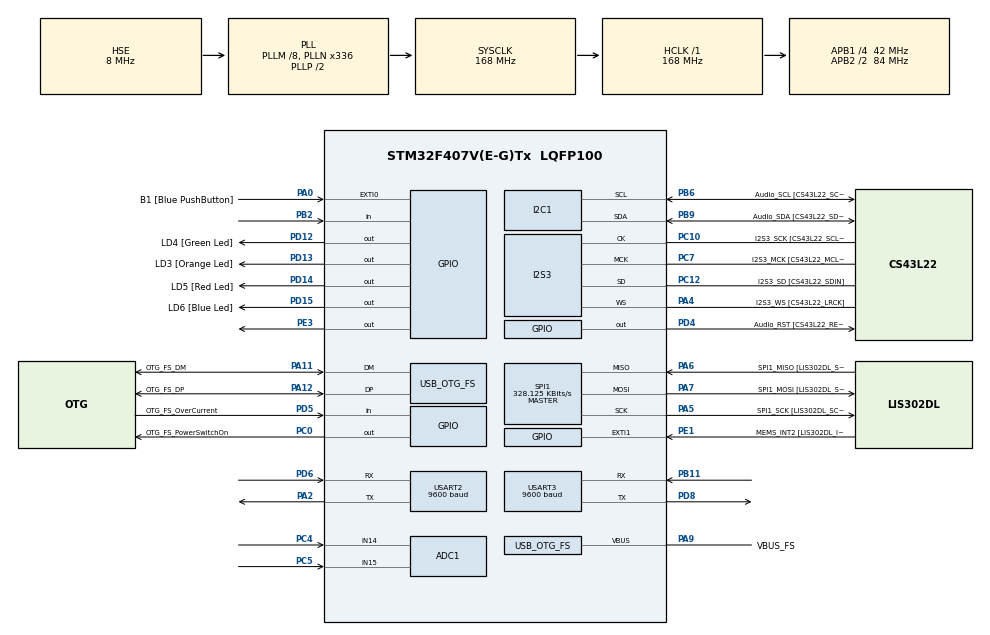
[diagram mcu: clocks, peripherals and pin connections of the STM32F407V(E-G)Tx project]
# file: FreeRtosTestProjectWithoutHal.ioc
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ADC1.Channel-7\#ChannelRegularConversion=ADC_CHANNEL_14
ADC1.NbrOfConversion=1
ADC1.NbrOfConversionFlag=1
ADC1.Rank-7\#ChannelRegularConversion=1
ADC1.SamplingTime-7\#ChannelRegularConversion=ADC_SAMPLETIME_3CYCLES
ADC1.ScanConvMode=DISABLE
ADC1.master=1
FREERTOS.Tasks01=defaultTask,24,128,StartDefaultTask,Default,NULL,Dynamic,NULL,NULL
I2S3.AudioFreq-Half_Duplex_Master=I2S_AUDIOFREQ_96K
I2S3.ErrorAudioFreq=-2.34 %
I2S3.ErrorAudioFreq-Half_Duplex_Master=0.8 %
I2S3.FullDuplexMode=I2S_FULLDUPLEXMODE_DISABLE
I2S3.Instance=SPI$Index
I2S3.RealAudioFreq=93.75 KHz
I2S3.RealAudioFreq-Half_Duplex_Master=96.774 KHz
I2S3.VirtualMode=I2S_MODE_MASTER
Mcu.Family=STM32F4
Mcu.Name=STM32F407V(E-G)Tx
Mcu.Package=LQFP100
NVIC.OTG_FS_IRQn=true\:5\:0\:false\:false\:true\:true\:true\:true
NVIC.PriorityGroup=NVIC_PRIORITYGROUP_4
NVIC.TIM1_UP_TIM10_IRQn=true\:0\:0\:false\:false\:true\:false\:false\:true
NVIC.TimeBase=TIM1_UP_TIM10_IRQn
NVIC.TimeBaseIP=TIM1
PA0-WKUP.GPIO_Label=B1 [Blue PushButton]
PA0-WKUP.GPIO_ModeDefaultEXTI=GPIO_MODE_EVT_RISING
PA0-WKUP.GPIO_PuPd=GPIO_NOPULL
PA0-WKUP.Signal=GPXTI0
PA10.GPIO_Label=OTG_FS_ID
PA10.GPIO_Mode=GPIO_MODE_AF_PP
PA10.GPIO_PuPd=GPIO_NOPULL
PA10.GPIO_Speed=GPIO_SPEED_FREQ_LOW
PA10.Signal=USB_OTG_FS_ID
PA11.GPIO_Label=OTG_FS_DM
PA11.GPIO_Mode=GPIO_MODE_AF_PP
PA11.GPIO_PuPd=GPIO_NOPULL
PA11.GPIO_Speed=GPIO_SPEED_FREQ_LOW
PA11.Mode=Host_Only
PA11.Signal=USB_OTG_FS_DM
PA12.GPIO_Label=OTG_FS_DP
PA12.GPIO_Mode=GPIO_MODE_AF_PP
PA12.GPIO_PuPd=GPIO_NOPULL
PA12.GPIO_Speed=GPIO_SPEED_FREQ_LOW
PA12.Mode=Host_Only
PA12.Signal=USB_OTG_FS_DP
PA13.GPIO_Label=SWDIO
PA13.Mode=Serial_Wire
PA13.Signal=SYS_JTMS-SWDIO
PA14.GPIO_Label=SWCLK
PA14.Mode=Serial_Wire
PA14.Signal=SYS_JTCK-SWCLK
PA2.Mode=Asynchronous
PA2.Signal=USART2_TX
PA4.GPIO_Label=I2S3_WS [CS43L22_LRCK]
PA4.GPIO_Mode=GPIO_MODE_AF_PP
PA4.GPIO_PuPd=GPIO_NOPULL
PA4.GPIO_Speed=GPIO_SPEED_FREQ_LOW
PA4.Mode=Half_Duplex_Master
PA4.Signal=I2S3_WS
PA5.GPIO_Label=SPI1_SCK [LIS302DL_SCL/SPC]
PA5.GPIO_Mode=GPIO_MODE_AF_PP
PA5.GPIO_PuPd=GPIO_NOPULL
PA5.GPIO_Speed=GPIO_SPEED_FREQ_LOW
PA5.Mode=Full_Duplex_Master
PA5.Signal=SPI1_SCK
PA6.GPIO_Label=SPI1_MISO [LIS302DL_SDO]
PA6.GPIO_Mode=GPIO_MODE_AF_PP
PA6.GPIO_PuPd=GPIO_NOPULL
PA6.GPIO_Speed=GPIO_SPEED_FREQ_LOW
PA6.Mode=Full_Duplex_Master
PA6.Signal=SPI1_MISO
PA7.GPIO_Label=SPI1_MOSI [LIS302DL_SDA/SDI/SDO]
PA7.GPIO_Mode=GPIO_MODE_AF_PP
PA7.GPIO_PuPd=GPIO_NOPULL
PA7.GPIO_Speed=GPIO_SPEED_FREQ_LOW
PA7.Mode=Full_Duplex_Master
PA7.Signal=SPI1_MOSI
PA9.GPIO_Label=VBUS_FS
PA9.GPIO_Mode=GPIO_MODE_INPUT
PA9.GPIO_PuPd=GPIO_NOPULL
PA9.Mode=Activate_VBUS
PA9.Signal=USB_OTG_FS_VBUS
PB10.GPIO_Label=CLK_IN [MP45DT02_CLK]
PB10.GPIO_Mode=GPIO_MODE_AF_PP
PB10.GPIO_PuPd=GPIO_NOPULL
PB10.GPIO_Speed=GPIO_SPEED_FREQ_LOW
PB10.Signal=I2S2_CK
PB11.Mode=Asynchronous
PB11.Signal=USART3_RX
PB2.Signal=GPIO_Input
PB3.GPIO_Label=SWO
PB3.Signal=SYS_JTDO-SWO
PB6.GPIO_Label=Audio_SCL [CS43L22_SCL]
PB6.GPIO_Mode=GPIO_MODE_AF_OD
PB6.GPIO_PuPd=GPIO_NOPULL
PB6.GPIO_Speed=GPIO_SPEED_FREQ_LOW
PB6.Mode=I2C
PB6.Signal=I2C1_SCL
PB9.GPIO_Label=Audio_SDA [CS43L22_SDA]
PB9.GPIO_Mode=GPIO_MODE_AF_OD
PB9.GPIO_PuPd=GPIO_NOPULL
PB9.GPIO_Speed=GPIO_SPEED_FREQ_LOW
PB9.Mode=I2C
PB9.Signal=I2C1_SDA
PC0.GPIO_Label=OTG_FS_PowerSwitchOn
PC0.GPIO_PuPd=GPIO_NOPULL
PC0.GPIO_Speed=GPIO_SPEED_FREQ_LOW
PC0.PinState=GPIO_PIN_SET
PC0.Signal=GPIO_Output
PC10.GPIO_Label=I2S3_SCK [CS43L22_SCLK]
PC10.GPIO_Mode=GPIO_MODE_AF_PP
PC10.GPIO_PuPd=GPIO_NOPULL
PC10.GPIO_Speed=GPIO_SPEED_FREQ_LOW
PC10.Mode=Half_Duplex_Master
PC10.Signal=I2S3_CK
PC12.GPIO_Label=I2S3_SD [CS43L22_SDIN]
PC12.GPIO_Mode=GPIO_MODE_AF_PP
PC12.GPIO_PuPd=GPIO_NOPULL
PC12.GPIO_Speed=GPIO_SPEED_FREQ_LOW
PC12.Mode=Half_Duplex_Master
PC12.Signal=I2S3_SD
PC14-OSC32_IN.GPIO_Label=PC14-OSC32_IN
PC14-OSC32_IN.Mode=LSE-External-Oscillator
PC14-OSC32_IN.Signal=RCC_OSC32_IN
PC15-OSC32_OUT.GPIO_Label=PC15-OSC32_OUT
PC15-OSC32_OUT.Mode=LSE-External-Oscillator
PC15-OSC32_OUT.Signal=RCC_OSC32_OUT
PC3.GPIO_Label=PDM_OUT [MP45DT02_DOUT]
PC3.GPIO_Mode=GPIO_MODE_AF_PP
PC3.GPIO_PuPd=GPIO_NOPULL
PC3.GPIO_Speed=GPIO_SPEED_FREQ_LOW
PC3.Signal=I2S2_SD
PC4.Signal=ADCx_IN14
PC5.Signal=ADCx_IN15
PC7.GPIO_Label=I2S3_MCK [CS43L22_MCLK]
PC7.GPIO_Mode=GPIO_MODE_AF_PP
PC7.GPIO_PuPd=GPIO_NOPULL
PC7.GPIO_Speed=GPIO_SPEED_FREQ_LOW
PC7.Mode=Master_Clock_Activated
PC7.Signal=I2S3_MCK
PD12.GPIO_Label=LD4 [Green Led]
PD12.GPIO_PuPd=GPIO_NOPULL
PD12.GPIO_Speed=GPIO_SPEED_FREQ_LOW
PD12.Signal=GPIO_Output
PD13.GPIO_Label=LD3 [Orange Led]
PD13.GPIO_PuPd=GPIO_NOPULL
PD13.GPIO_Speed=GPIO_SPEED_FREQ_LOW
PD13.Signal=GPIO_Output
PD14.GPIO_Label=LD5 [Red Led]
PD14.GPIO_PuPd=GPIO_NOPULL
PD14.GPIO_Speed=GPIO_SPEED_FREQ_LOW
PD14.Signal=GPIO_Output
PD15.GPIO_Label=LD6 [Blue Led]
PD15.GPIO_PuPd=GPIO_NOPULL
PD15.GPIO_Speed=GPIO_SPEED_FREQ_LOW
PD15.Signal=GPIO_Output
PD4.GPIO_Label=Audio_RST [CS43L22_RESET]
PD4.GPIO_PuPd=GPIO_NOPULL
PD4.GPIO_Speed=GPIO_SPEED_FREQ_LOW
PD4.Signal=GPIO_Output
PD5.GPIO_Label=OTG_FS_OverCurrent
PD5.GPIO_Mode=GPIO_MODE_INPUT
PD5.GPIO_PuPd=GPIO_NOPULL
PD5.Signal=GPIO_Input
PD6.Mode=Asynchronous
PD6.Signal=USART2_RX
PD8.Mode=Asynchronous
PD8.Signal=USART3_TX
PE1.GPIO_Label=MEMS_INT2 [LIS302DL_INT2]
PE1.GPIO_ModeDefaultEXTI=GPIO_MODE_EVT_RISING
PE1.GPIO_PuPd=GPIO_NOPULL
PE1.Signal=GPXTI1
PE3.Signal=GPIO_Output
PH0-OSC_IN.GPIO_Label=PH0-OSC_IN
PH0-OSC_IN.Mode=HSE-External-Oscillator
PH0-OSC_IN.Signal=RCC_OSC_IN
PH1-OSC_OUT.GPIO_Label=PH1-OSC_OUT
PH1-OSC_OUT.Mode=HSE-External-Oscillator
PH1-OSC_OUT.Signal=RCC_OSC_OUT
ProjectManager.HeapSize=0x200
ProjectManager.StackSize=0x400
ProjectManager.TargetToolchain=STM32CubeIDE
RCC.48MHZClocksFreq_Value=48000000
RCC.AHBFreq_Value=168000000
RCC.APB1CLKDivider=RCC_HCLK_DIV4
RCC.APB1Freq_Value=42000000
RCC.APB1TimFreq_Value=84000000
RCC.APB2CLKDivider=RCC_HCLK_DIV2
RCC.APB2Freq_Value=84000000
RCC.APB2TimFreq_Value=168000000
RCC.CortexFreq_Value=168000000
RCC.HCLKFreq_Value=168000000
RCC.HSE_VALUE=8000000
RCC.HSI_VALUE=16000000
RCC.PLLM=8
RCC.PLLN=336
RCC.PLLQ=7
RCC.SYSCLKFreq_VALUE=168000000
RCC.SYSCLKSource=RCC_SYSCLKSOURCE_PLLCLK
RCC.VCOOutputFreq_Value=336000000
SH.ADCx_IN14.0=ADC1_IN14,IN14
SH.ADCx_IN15.0=ADC1_IN15,IN15
SPI1.BaudRatePrescaler=SPI_BAUDRATEPRESCALER_256
SPI1.BaudRatePrescaler-Full_Duplex_Master=SPI_BAUDRATEPRESCALER_2
SPI1.CalculateBaudRate=328.125 KBits/s
SPI1.CalculateBaudRate-Full_Duplex_Master=42.0 MBits/s
SPI1.Direction=SPI_DIRECTION_2LINES
SPI1.Mode=SPI_MODE_MASTER
SPI1.Mode-Full_Duplex_Master=SPI_MODE_MASTER
SPI1.VirtualType=VM_MASTER
USART2.BaudRate=9600
USART2.VirtualMode=VM_ASYNC
USART3.BaudRate=9600
USART3.VirtualMode=VM_ASYNC
USB_HOST.BSP.number=1
USB_HOST.USBH_HandleTypeDef-CDC_FS=hUsbHostFS
USB_HOST.USBH_USE_OS-CDC_FS=0
USB_HOST.VirtualModeFS=Cdc
USB_HOST0.BSP.STBoard=false
USB_HOST0.BSP.api=Unknown
USB_HOST0.BSP.i2caddr=0
USB_HOST0.BSP.i2creg=0
USB_HOST0.BSP.instance=PC0
USB_HOST0.BSP.ip=GPIO
USB_HOST0.BSP.mode=Output
USB_HOST0.BSP.name=Drive_VBUS_FS
USB_HOST0.BSP.solution=PC0
USB_OTG_FS.VirtualMode=Host_Only
USB_OTG_FS.phy_itface=HCD_PHY_EMBEDDED
VP_FREERTOS_VS_CMSIS_V2.Mode=CMSIS_V2
VP_SYS_VS_tim1.Mode=TIM1
VP_USB_HOST_VS_USB_HOST_CDC_FS.Mode=CDC_FS
board=STM32F407G-DISC1

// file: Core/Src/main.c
/* USER CODE BEGIN Header */
/**
  ******************************************************************************
  * @file           : main.c
  * @brief          : Main program body
  ******************************************************************************
  * @attention
  *
  * <h2><center>&copy; Copyright (c) 2021 STMicroelectronics.
  * All rights reserved.</center></h2>
  *
  * This software component is licensed by ST under Ultimate Liberty license
  * SLA0044, the "License"; You may not use this file except in compliance with
  * the License. You may obtain a copy of the License at:
  *                             www.st.com/SLA0044
  *
  ******************************************************************************
  */
/* USER CODE END Header */
#include "main.h"
#include "cmsis_os.h"
#include "usb_host.h"

/* USER CODE BEGIN Includes */

#include "FreeRTOS.h"
#include "task.h"
#include "croutine.h"

#include "ADCman.h"

/* USER CODE END Includes */

ADC_HandleTypeDef hadc1;

I2C_HandleTypeDef hi2c1;

I2S_HandleTypeDef hi2s3;

SPI_HandleTypeDef hspi1;

UART_HandleTypeDef huart2;
UART_HandleTypeDef huart3;

/* Definitions for defaultTask */
osThreadId_t defaultTaskHandle;
const osThreadAttr_t defaultTask_attributes = {
  .name = "defaultTask",
  .priority = (osPriority_t) osPriorityNormal,
  .stack_size = 128 * 4
};

void SystemClock_Config(void);
static void MX_GPIO_Init(void);
static void MX_I2C1_Init(void);
static void MX_I2S3_Init(void);
static void MX_SPI1_Init(void);
static void MX_USART2_UART_Init(void);
static void MX_USART3_UART_Init(void);
static void MX_ADC1_Init(void);
void StartDefaultTask(void *argument);

/* USER CODE BEGIN 0 */

/*-----------------------------------------------------------*/
/* Обмен по ModBus */
void vTaskForModbus( void *pvParameters )
{

  for( ;; )
 {

 }

  vTaskDelete( NULL );
}
/*-----------------------------------------------------------*/
/* Обмен по SPI */
void vTaskForSPI( void *pvParameters )
{

  uint8_t sendData[100];
  uint8_t receiveData[100];
  uint16_t dataSize;

  for( ;; )
 {
	  //Передать адрес канала, с которого произойдёт конвертация
	  	HAL_SPI_TransmitReceive(&hspi1, &sendData, &receiveData, dataSize, 1000);

	  	//Получить значение канала при следующей отправке.
	  	HAL_SPI_TransmitReceive(&hspi1, &sendData, &receiveData, dataSize, 1000);
 }
  vTaskDelete( NULL );
}

/* Обмен по UART */
void vTaskForUART( void *pvParameters )
{

  for( ;; )
 {

 }
  vTaskDelete( NULL );
}

/* Работа с драйвером дисплея */
void vTaskForDisplay( void *pvParameters )
{

  int displayNumbers[4];

  for( ;; )
 {

 }
  vTaskDelete( NULL );
}

/* Работа с портами */
void vTaskForPorts( void *pvParameters )
{
	int portNumbers[4];

  for( ;; )
 {

 }
  vTaskDelete( NULL );
}

/* Работа с драйвером дисплея */
void vTaskForADCSensorIn14( void *pvParameters )
{

  uint32_t ADCcurrent14 = 0x00;
  uint8_t Number = 14;

  for( ;; )
 {
	  ADCgetvalue(&hadc1, &Number, &ADCcurrent14);
 }
  vTaskDelete( NULL );
}

void vTaskForADCSensorIn15( void *pvParameters )
{

	uint32_t ADCcurrent15 = 0x00;
	uint8_t Number = 15;

  for( ;; )
 {
	  ADCgetvalue(&hadc1, &Number, &ADCcurrent15);
 }
  vTaskDelete( NULL );
}

/* Обмен по I2C */
void vTaskForI2C( void *pvParameters )
{

  int I2CNumbers[4];

  for( ;; )
 {

 }
  vTaskDelete( NULL );
}

/* USER CODE END 0 */

int main(void)
{

  /* MCU Configuration--------------------------------------------------------*/

  /* Reset of all peripherals, Initializes the Flash interface and the Systick. */
  HAL_Init();

  /* Configure the system clock */
  SystemClock_Config();

  /* Initialize all configured peripherals */
  MX_GPIO_Init();
  MX_I2C1_Init();
  MX_I2S3_Init();
  MX_SPI1_Init();
  MX_USART2_UART_Init();
  MX_USART3_UART_Init();
  MX_ADC1_Init();

  /* Init scheduler */
  osKernelInitialize();

  /* Create the thread(s) */
  /* creation of defaultTask */
  defaultTaskHandle = osThreadNew(StartDefaultTask, NULL, &defaultTask_attributes);

  /* Start scheduler */
  osKernelStart();

  /* We should never get here as control is now taken by the scheduler */
  /* Infinite loop */
  /* USER CODE BEGIN WHILE */
  //while (1)
  //{
    /* USER CODE END WHILE */

    /* USER CODE BEGIN 3 */
  //}

  /* Биты 0, 1 порта PORTF будут работать как ВЫХОДЫ */
   //DDRF |= (1 << DDF0) | (1 << DDF1);

   /* Создать задачу 1, заметьте,  что реальная программа должна
   /* проверять возвращаемое  значение, чтобы убедиться,
   /* что задача создана успешно */
   xTaskCreate( vTaskForModbus,  /* Указатель на функцию, реализующую задачу */
       (signed char *) "vTaskForModbus",  /* Текстовое имя задачи. Только для наглядности */
       configMINIMAL_STACK_SIZE,  /* Размер стека – минимально необходимый*/
       NULL,  /* Параметр, передаваемый задаче, – не используется */
       1,  /* Приоритет = 1 */
       NULL );  /* Получение дескриптора задачи – не используется */

   /* Создать задачу 2 */
   xTaskCreate(vTaskForSPI,  (signed char *) "vTaskForSPI", configMINIMAL_STACK_SIZE, NULL, 1, NULL );

   /* Создать задачу 2 */
   xTaskCreate(vTaskForADCSensorIn14,  (signed char *) "vTaskForADCSensorIn14", configMINIMAL_STACK_SIZE, NULL, 1, NULL );

   /* Создать задачу 2 */
   xTaskCreate(vTaskForADCSensorIn15,  (signed char *) "vTaskForADCSensorIn15", configMINIMAL_STACK_SIZE, NULL, 1, NULL );

   /* Создать задачу 2 */
   xTaskCreate(vTaskForUART,  (signed char *) "vTaskForUART", configMINIMAL_STACK_SIZE, NULL, 1, NULL );

   /* Создать задачу 2 */
   xTaskCreate(vTaskForDisplay,  (signed  char *) "vTaskForDisplay", configMINIMAL_STACK_SIZE, NULL, 1, NULL );

   /* Создать задачу 2 */
   xTaskCreate(vTaskForPorts,  (signed  char *) "vTaskForPorts", configMINIMAL_STACK_SIZE, NULL, 1, NULL );

   /* Создать задачу 2 */
   xTaskCreate(vTaskForI2C,  (signed  char *) "vTaskForI2C", configMINIMAL_STACK_SIZE, NULL, 1, NULL );

   /* Запустить планировщик. Задачи начнут выполняться. */
   vTaskStartScheduler();

   return 0;
  /* USER CODE END 3 */
}

void SystemClock_Config(void)
{
  RCC_OscInitTypeDef RCC_OscInitStruct = {0};
  RCC_ClkInitTypeDef RCC_ClkInitStruct = {0};
  RCC_PeriphCLKInitTypeDef PeriphClkInitStruct = {0};

  /** Configure the main internal regulator output voltage
  */
  __HAL_RCC_PWR_CLK_ENABLE();
  __HAL_PWR_VOLTAGESCALING_CONFIG(PWR_REGULATOR_VOLTAGE_SCALE1);
  /** Initializes the RCC Oscillators according to the specified parameters
  * in the RCC_OscInitTypeDef structure.
  */
  RCC_OscInitStruct.OscillatorType = RCC_OSCILLATORTYPE_HSE;
  RCC_OscInitStruct.HSEState = RCC_HSE_ON;
  RCC_OscInitStruct.PLL.PLLState = RCC_PLL_ON;
  RCC_OscInitStruct.PLL.PLLSource = RCC_PLLSOURCE_HSE;
  RCC_OscInitStruct.PLL.PLLM = 8;
  RCC_OscInitStruct.PLL.PLLN = 336;
  RCC_OscInitStruct.PLL.PLLP = RCC_PLLP_DIV2;
  RCC_OscInitStruct.PLL.PLLQ = 7;
  if (HAL_RCC_OscConfig(&RCC_OscInitStruct) != HAL_OK)
  {
    Error_Handler();
  }
  /** Initializes the CPU, AHB and APB buses clocks
  */
  RCC_ClkInitStruct.ClockType = RCC_CLOCKTYPE_HCLK|RCC_CLOCKTYPE_SYSCLK
                              |RCC_CLOCKTYPE_PCLK1|RCC_CLOCKTYPE_PCLK2;
  RCC_ClkInitStruct.SYSCLKSource = RCC_SYSCLKSOURCE_PLLCLK;
  RCC_ClkInitStruct.AHBCLKDivider = RCC_SYSCLK_DIV1;
  RCC_ClkInitStruct.APB1CLKDivider = RCC_HCLK_DIV4;
  RCC_ClkInitStruct.APB2CLKDivider = RCC_HCLK_DIV2;

  if (HAL_RCC_ClockConfig(&RCC_ClkInitStruct, FLASH_LATENCY_5) != HAL_OK)
  {
    Error_Handler();
  }
  PeriphClkInitStruct.PeriphClockSelection = RCC_PERIPHCLK_I2S;
  PeriphClkInitStruct.PLLI2S.PLLI2SN = 192;
  PeriphClkInitStruct.PLLI2S.PLLI2SR = 2;
  if (HAL_RCCEx_PeriphCLKConfig(&PeriphClkInitStruct) != HAL_OK)
  {
    Error_Handler();
  }
}

static void MX_ADC1_Init(void)
{

  ADC_ChannelConfTypeDef sConfig = {0};

  /** Configure the global features of the ADC (Clock, Resolution, Data Alignment and number of conversion)
  */
  hadc1.Instance = ADC1;
  hadc1.Init.ClockPrescaler = ADC_CLOCK_SYNC_PCLK_DIV4;
  hadc1.Init.Resolution = ADC_RESOLUTION_12B;
  hadc1.Init.ScanConvMode = DISABLE;
  hadc1.Init.ContinuousConvMode = DISABLE;
  hadc1.Init.DiscontinuousConvMode = DISABLE;
  hadc1.Init.ExternalTrigConvEdge = ADC_EXTERNALTRIGCONVEDGE_NONE;
  hadc1.Init.ExternalTrigConv = ADC_SOFTWARE_START;
  hadc1.Init.DataAlign = ADC_DATAALIGN_RIGHT;
  hadc1.Init.NbrOfConversion = 1;
  hadc1.Init.DMAContinuousRequests = DISABLE;
  hadc1.Init.EOCSelection = ADC_EOC_SINGLE_CONV;
  if (HAL_ADC_Init(&hadc1) != HAL_OK)
  {
    Error_Handler();
  }
  /** Configure for the selected ADC regular channel its corresponding rank in the sequencer and its sample time.
  */
  sConfig.Channel = ADC_CHANNEL_14;
  sConfig.Rank = 1;
  sConfig.SamplingTime = ADC_SAMPLETIME_3CYCLES;
  if (HAL_ADC_ConfigChannel(&hadc1, &sConfig) != HAL_OK)
  {
    Error_Handler();
  }

}

static void MX_I2C1_Init(void)
{

  hi2c1.Instance = I2C1;
  hi2c1.Init.ClockSpeed = 100000;
  hi2c1.Init.DutyCycle = I2C_DUTYCYCLE_2;
  hi2c1.Init.OwnAddress1 = 0;
  hi2c1.Init.AddressingMode = I2C_ADDRESSINGMODE_7BIT;
  hi2c1.Init.DualAddressMode = I2C_DUALADDRESS_DISABLE;
  hi2c1.Init.OwnAddress2 = 0;
  hi2c1.Init.GeneralCallMode = I2C_GENERALCALL_DISABLE;
  hi2c1.Init.NoStretchMode = I2C_NOSTRETCH_DISABLE;
  if (HAL_I2C_Init(&hi2c1) != HAL_OK)
  {
    Error_Handler();
  }

}

static void MX_I2S3_Init(void)
{

  hi2s3.Instance = SPI3;
  hi2s3.Init.Mode = I2S_MODE_MASTER_TX;
  hi2s3.Init.Standard = I2S_STANDARD_PHILIPS;
  hi2s3.Init.DataFormat = I2S_DATAFORMAT_16B;
  hi2s3.Init.MCLKOutput = I2S_MCLKOUTPUT_ENABLE;
  hi2s3.Init.AudioFreq = I2S_AUDIOFREQ_96K;
  hi2s3.Init.CPOL = I2S_CPOL_LOW;
  hi2s3.Init.ClockSource = I2S_CLOCK_PLL;
  hi2s3.Init.FullDuplexMode = I2S_FULLDUPLEXMODE_DISABLE;
  if (HAL_I2S_Init(&hi2s3) != HAL_OK)
  {
    Error_Handler();
  }

}

static void MX_SPI1_Init(void)
{

  /* SPI1 parameter configuration*/
  hspi1.Instance = SPI1;
  hspi1.Init.Mode = SPI_MODE_MASTER;
  hspi1.Init.Direction = SPI_DIRECTION_2LINES;
  hspi1.Init.DataSize = SPI_DATASIZE_8BIT;
  hspi1.Init.CLKPolarity = SPI_POLARITY_LOW;
  hspi1.Init.CLKPhase = SPI_PHASE_1EDGE;
  hspi1.Init.NSS = SPI_NSS_SOFT;
  hspi1.Init.BaudRatePrescaler = SPI_BAUDRATEPRESCALER_256;
  hspi1.Init.FirstBit = SPI_FIRSTBIT_MSB;
  hspi1.Init.TIMode = SPI_TIMODE_DISABLE;
  hspi1.Init.CRCCalculation = SPI_CRCCALCULATION_DISABLE;
  hspi1.Init.CRCPolynomial = 10;
  if (HAL_SPI_Init(&hspi1) != HAL_OK)
  {
    Error_Handler();
  }

}

static void MX_USART2_UART_Init(void)
{

  huart2.Instance = USART2;
  huart2.Init.BaudRate = 9600;
  huart2.Init.WordLength = UART_WORDLENGTH_8B;
  huart2.Init.StopBits = UART_STOPBITS_1;
  huart2.Init.Parity = UART_PARITY_NONE;
  huart2.Init.Mode = UART_MODE_TX_RX;
  huart2.Init.HwFlowCtl = UART_HWCONTROL_NONE;
  huart2.Init.OverSampling = UART_OVERSAMPLING_16;
  if (HAL_UART_Init(&huart2) != HAL_OK)
  {
    Error_Handler();
  }

}

static void MX_USART3_UART_Init(void)
{

  huart3.Instance = USART3;
  huart3.Init.BaudRate = 9600;
  huart3.Init.WordLength = UART_WORDLENGTH_8B;
  huart3.Init.StopBits = UART_STOPBITS_1;
  huart3.Init.Parity = UART_PARITY_NONE;
  huart3.Init.Mode = UART_MODE_TX_RX;
  huart3.Init.HwFlowCtl = UART_HWCONTROL_NONE;
  huart3.Init.OverSampling = UART_OVERSAMPLING_16;
  if (HAL_UART_Init(&huart3) != HAL_OK)
  {
    Error_Handler();
  }

}

static void MX_GPIO_Init(void)
{
  GPIO_InitTypeDef GPIO_InitStruct = {0};

  /* GPIO Ports Clock Enable */
  __HAL_RCC_GPIOE_CLK_ENABLE();
  __HAL_RCC_GPIOC_CLK_ENABLE();
  __HAL_RCC_GPIOH_CLK_ENABLE();
  __HAL_RCC_GPIOA_CLK_ENABLE();
  __HAL_RCC_GPIOB_CLK_ENABLE();
  __HAL_RCC_GPIOD_CLK_ENABLE();

  /*Configure GPIO pin Output Level */
  HAL_GPIO_WritePin(GPIOE, GPIO_PIN_3, GPIO_PIN_RESET);

  /*Configure GPIO pin Output Level */
  HAL_GPIO_WritePin(OTG_FS_PowerSwitchOn_GPIO_Port, OTG_FS_PowerSwitchOn_Pin, GPIO_PIN_SET);

  /*Configure GPIO pin Output Level */
  HAL_GPIO_WritePin(GPIOD, LD4_Pin|LD3_Pin|LD5_Pin|LD6_Pin
                          |Audio_RST_Pin, GPIO_PIN_RESET);

  /*Configure GPIO pin : PE3 */
  GPIO_InitStruct.Pin = GPIO_PIN_3;
  GPIO_InitStruct.Mode = GPIO_MODE_OUTPUT_PP;
  GPIO_InitStruct.Pull = GPIO_NOPULL;
  GPIO_InitStruct.Speed = GPIO_SPEED_FREQ_LOW;
  HAL_GPIO_Init(GPIOE, &GPIO_InitStruct);

  /*Configure GPIO pin : OTG_FS_PowerSwitchOn_Pin */
  GPIO_InitStruct.Pin = OTG_FS_PowerSwitchOn_Pin;
  GPIO_InitStruct.Mode = GPIO_MODE_OUTPUT_PP;
  GPIO_InitStruct.Pull = GPIO_NOPULL;
  GPIO_InitStruct.Speed = GPIO_SPEED_FREQ_LOW;
  HAL_GPIO_Init(OTG_FS_PowerSwitchOn_GPIO_Port, &GPIO_InitStruct);

  /*Configure GPIO pin : PDM_OUT_Pin */
  GPIO_InitStruct.Pin = PDM_OUT_Pin;
  GPIO_InitStruct.Mode = GPIO_MODE_AF_PP;
  GPIO_InitStruct.Pull = GPIO_NOPULL;
  GPIO_InitStruct.Speed = GPIO_SPEED_FREQ_LOW;
  GPIO_InitStruct.Alternate = GPIO_AF5_SPI2;
  HAL_GPIO_Init(PDM_OUT_GPIO_Port, &GPIO_InitStruct);

  /*Configure GPIO pin : B1_Pin */
  GPIO_InitStruct.Pin = B1_Pin;
  GPIO_InitStruct.Mode = GPIO_MODE_EVT_RISING;
  GPIO_InitStruct.Pull = GPIO_NOPULL;
  HAL_GPIO_Init(B1_GPIO_Port, &GPIO_InitStruct);

  /*Configure GPIO pin : PB2 */
  GPIO_InitStruct.Pin = GPIO_PIN_2;
  GPIO_InitStruct.Mode = GPIO_MODE_INPUT;
  GPIO_InitStruct.Pull = GPIO_NOPULL;
  HAL_GPIO_Init(GPIOB, &GPIO_InitStruct);

  /*Configure GPIO pin : CLK_IN_Pin */
  GPIO_InitStruct.Pin = CLK_IN_Pin;
  GPIO_InitStruct.Mode = GPIO_MODE_AF_PP;
  GPIO_InitStruct.Pull = GPIO_NOPULL;
  GPIO_InitStruct.Speed = GPIO_SPEED_FREQ_LOW;
  GPIO_InitStruct.Alternate = GPIO_AF5_SPI2;
  HAL_GPIO_Init(CLK_IN_GPIO_Port, &GPIO_InitStruct);

  /*Configure GPIO pins : LD4_Pin LD3_Pin LD5_Pin LD6_Pin
                           Audio_RST_Pin */
  GPIO_InitStruct.Pin = LD4_Pin|LD3_Pin|LD5_Pin|LD6_Pin
                          |Audio_RST_Pin;
  GPIO_InitStruct.Mode = GPIO_MODE_OUTPUT_PP;
  GPIO_InitStruct.Pull = GPIO_NOPULL;
  GPIO_InitStruct.Speed = GPIO_SPEED_FREQ_LOW;
  HAL_GPIO_Init(GPIOD, &GPIO_InitStruct);

  /*Configure GPIO pin : OTG_FS_OverCurrent_Pin */
  GPIO_InitStruct.Pin = OTG_FS_OverCurrent_Pin;
  GPIO_InitStruct.Mode = GPIO_MODE_INPUT;
  GPIO_InitStruct.Pull = GPIO_NOPULL;
  HAL_GPIO_Init(OTG_FS_OverCurrent_GPIO_Port, &GPIO_InitStruct);

  /*Configure GPIO pin : MEMS_INT2_Pin */
  GPIO_InitStruct.Pin = MEMS_INT2_Pin;
  GPIO_InitStruct.Mode = GPIO_MODE_EVT_RISING;
  GPIO_InitStruct.Pull = GPIO_NOPULL;
  HAL_GPIO_Init(MEMS_INT2_GPIO_Port, &GPIO_InitStruct);

}

void StartDefaultTask(void *argument)
{
  /* init code for USB_HOST */
  MX_USB_HOST_Init();
  for(;;)
  {
    osDelay(1);
  }
}

 /**
  * @brief  Period elapsed callback in non blocking mode
  * @note   This function is called  when TIM1 interrupt took place, inside
  * HAL_TIM_IRQHandler(). It makes a direct call to HAL_IncTick() to increment
  * a global variable "uwTick" used as application time base.
  * @param  htim : TIM handle
  * @retval None
  */
void HAL_TIM_PeriodElapsedCallback(TIM_HandleTypeDef *htim)
{
  if (htim->Instance == TIM1) {
    HAL_IncTick();
  }
}

void Error_Handler(void)
{
  __disable_irq();
  while (1)
  {
  }
}

/************************ (C) COPYRIGHT STMicroelectronics *****END OF FILE****/
